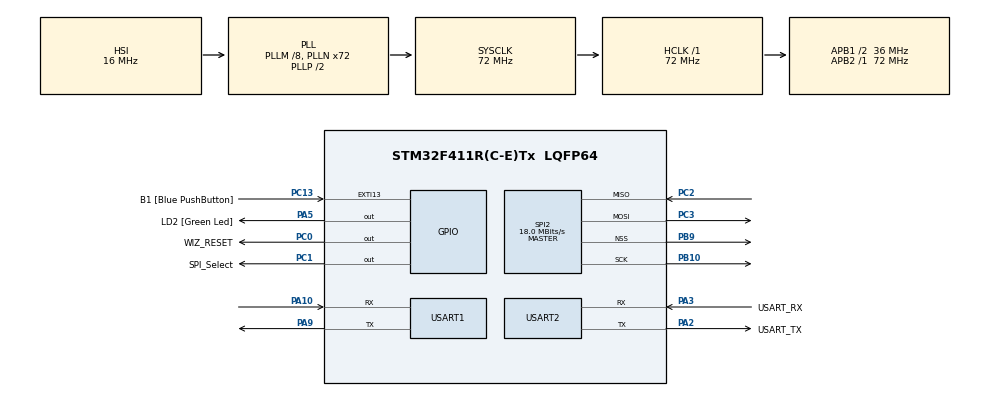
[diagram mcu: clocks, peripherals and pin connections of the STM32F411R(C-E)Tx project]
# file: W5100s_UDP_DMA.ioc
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Dma.Request0=SPI2_RX
Dma.Request1=SPI2_TX
Dma.SPI2_RX.0.Direction=DMA_PERIPH_TO_MEMORY
Dma.SPI2_RX.0.FIFOMode=DMA_FIFOMODE_DISABLE
Dma.SPI2_RX.0.Instance=DMA1_Stream3
Dma.SPI2_RX.0.MemDataAlignment=DMA_MDATAALIGN_BYTE
Dma.SPI2_RX.0.MemInc=DMA_MINC_ENABLE
Dma.SPI2_RX.0.Mode=DMA_NORMAL
Dma.SPI2_RX.0.PeriphDataAlignment=DMA_PDATAALIGN_BYTE
Dma.SPI2_RX.0.PeriphInc=DMA_PINC_DISABLE
Dma.SPI2_RX.0.Priority=DMA_PRIORITY_LOW
Dma.SPI2_TX.1.Direction=DMA_MEMORY_TO_PERIPH
Dma.SPI2_TX.1.FIFOMode=DMA_FIFOMODE_DISABLE
Dma.SPI2_TX.1.Instance=DMA1_Stream4
Dma.SPI2_TX.1.MemDataAlignment=DMA_MDATAALIGN_BYTE
Dma.SPI2_TX.1.MemInc=DMA_MINC_ENABLE
Dma.SPI2_TX.1.Mode=DMA_NORMAL
Dma.SPI2_TX.1.PeriphDataAlignment=DMA_PDATAALIGN_BYTE
Dma.SPI2_TX.1.PeriphInc=DMA_PINC_DISABLE
Dma.SPI2_TX.1.Priority=DMA_PRIORITY_LOW
Mcu.Family=STM32F4
Mcu.Name=STM32F411R(C-E)Tx
Mcu.Package=LQFP64
NVIC.DMA1_Stream3_IRQn=true\:0\:0\:false\:false\:true\:false\:true\:true
NVIC.DMA1_Stream4_IRQn=true\:0\:0\:false\:false\:true\:false\:true\:true
NVIC.PriorityGroup=NVIC_PRIORITYGROUP_0
NVIC.RCC_IRQn=true\:0\:0\:false\:false\:true\:true\:false\:true
PA10.Mode=Asynchronous
PA10.Signal=USART1_RX
PA13.GPIO_Label=TMS
PA13.Mode=Trace_Asynchronous_SW
PA13.Signal=SYS_JTMS-SWDIO
PA14.GPIO_Label=TCK
PA14.Mode=Trace_Asynchronous_SW
PA14.Signal=SYS_JTCK-SWCLK
PA2.GPIO_Label=USART_TX
PA2.Mode=Asynchronous
PA2.Signal=USART2_TX
PA3.GPIO_Label=USART_RX
PA3.Mode=Asynchronous
PA3.Signal=USART2_RX
PA5.GPIO_Label=LD2 [Green Led]
PA5.Signal=GPIO_Output
PA9.Mode=Asynchronous
PA9.Signal=USART1_TX
PB10.Mode=Full_Duplex_Master
PB10.Signal=SPI2_SCK
PB3.GPIO_Label=SWO
PB3.Mode=Trace_Asynchronous_SW
PB3.Signal=SYS_JTDO-SWO
PB9.Mode=NSS_Signal_Hard_Output
PB9.Signal=SPI2_NSS
PC0.GPIO_Label=WIZ_RESET
PC0.Signal=GPIO_Output
PC1.GPIO_Label=SPI_Select
PC1.Signal=GPIO_Output
PC13-ANTI_TAMP.GPIO_Label=B1 [Blue PushButton]
PC13-ANTI_TAMP.GPIO_ModeDefaultEXTI=GPIO_MODE_IT_FALLING
PC13-ANTI_TAMP.Signal=GPXTI13
PC14-OSC32_IN.Mode=LSE-External-Oscillator
PC14-OSC32_IN.Signal=RCC_OSC32_IN
PC15-OSC32_OUT.Mode=LSE-External-Oscillator
PC15-OSC32_OUT.Signal=RCC_OSC32_OUT
PC2.Mode=Full_Duplex_Master
PC2.Signal=SPI2_MISO
PC3.Mode=Full_Duplex_Master
PC3.Signal=SPI2_MOSI
PH0\ -\ OSC_IN.Signal=RCC_OSC_IN
PH1\ -\ OSC_OUT.Signal=RCC_OSC_OUT
ProjectManager.HeapSize=0x200
ProjectManager.StackSize=0x400
ProjectManager.TargetToolchain=STM32CubeIDE
RCC.48MHZClocksFreq_Value=36000000
RCC.AHBFreq_Value=72000000
RCC.APB1CLKDivider=RCC_HCLK_DIV2
RCC.APB1Freq_Value=36000000
RCC.APB1TimFreq_Value=72000000
RCC.APB2Freq_Value=72000000
RCC.APB2TimFreq_Value=72000000
RCC.CortexFreq_Value=72000000
RCC.FLatency-AdvancedSettings=FLASH_LATENCY_2
RCC.HCLKFreq_Value=72000000
RCC.HSE_VALUE=8000000
RCC.HSI_VALUE=16000000
RCC.PLLM=8
RCC.PLLN=72
RCC.SYSCLKFreq_VALUE=72000000
RCC.SYSCLKSource=RCC_SYSCLKSOURCE_PLLCLK
RCC.VCOOutputFreq_Value=144000000
SPI2.CalculateBaudRate=18.0 MBits/s
SPI2.Direction=SPI_DIRECTION_2LINES
SPI2.Mode=SPI_MODE_MASTER
SPI2.VirtualNSS=VM_NSSHARD
SPI2.VirtualType=VM_MASTER
USART1.VirtualMode=VM_ASYNC
USART2.VirtualMode=VM_ASYNC
board=NUCLEO-F411RE

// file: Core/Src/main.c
/* USER CODE BEGIN Header */
/**
  ******************************************************************************
  * @file           : main.c
  * @brief          : Main program body
  ******************************************************************************
  * @attention
  *
  * Copyright (c) 2023 STMicroelectronics.
  * All rights reserved.
  *
  * This software is licensed under terms that can be found in the LICENSE file
  * in the root directory of this software component.
  * If no LICENSE file comes with this software, it is provided AS-IS.
  *
  ******************************************************************************
  */
/* USER CODE END Header */
#include "main.h"

/* USER CODE BEGIN Includes */
#include <stdio.h>
#include "W5100S/w5100s.h"
#include "loopback/loopback.h"
#include "wizchip_conf.h"
#include "socket.h"
/* USER CODE END Includes */

/* USER CODE BEGIN PTD */
#define True_STD
/* USER CODE END PTD */

SPI_HandleTypeDef hspi2;
DMA_HandleTypeDef hdma_spi2_rx;
DMA_HandleTypeDef hdma_spi2_tx;

UART_HandleTypeDef huart1;
UART_HandleTypeDef huart2;

/* USER CODE BEGIN PV */
wiz_NetInfo gWIZNETINFO = { .mac = {0x00,0x08,0xdc,0x57,0x57,0x20},
							.ip = {192,168,100,30},
							.sn = {255, 255, 255, 0},
							.gw = {192, 168, 100, 1},
							.dns = {168, 126, 63, 1}
						};

uint8_t WIZ_Dest_IP[4] = {192, 168, 0, 232};                  //DST_IP Address

uint8_t data_buf[2048];
void print_network_information(void);
/* USER CODE END PV */

void SystemClock_Config(void);
static void MX_GPIO_Init(void);
static void MX_DMA_Init(void);
static void MX_SPI2_Init(void);
static void MX_USART2_UART_Init(void);
static void MX_USART1_UART_Init(void);
/* USER CODE BEGIN PFP */
uint8_t rxData;

uint8_t send_flag = 0;

uint8_t rx_buffer[2048]= {0,};
int rx_index = 0;
uint8_t rx_flag =0;
/* USER CODE END PFP */

/* USER CODE BEGIN 0 */
#ifdef __GNUC__
#define PUTCHAR_PROTOTYPE int __io_putchar(int ch)
#else
#define PUTCHAR_PROTOTYPE int fputc(int ch, FILE *f)
#endif

/**
 * @brief Retargets the C library printf function to the USART
 * @param None
 * @retval None
 */
/*PUTCHAR_PROTOTYPE{
	if (ch == '\n') HAL_UART_Transmit(&huart1, (uint8_t*)"\r", 1, 0xFFFF);
	HAL_UART_Transmit(&huart1, (uint8_t*)&ch, 1, 0xFFFF);
	return ch;
}
*/
#ifdef True_STD
	int _write(int fd, char *str, int len)
	{
		for(int i=0; i<len; i++)
		{
			HAL_UART_Transmit(&huart1, (uint8_t *)&str[i], 1, 0xFFFF);
		}
		return len;
	}
#endif

void spiWriteByte(uint8_t byte)
{
	HAL_SPI_Transmit(&hspi2, &byte, 1, HAL_MAX_DELAY);
}

uint8_t spiReadByte(void)
{
	uint8_t ret;
	HAL_SPI_Receive(&hspi2, &ret, 1, HAL_MAX_DELAY);
	return ret;
}

void spiWriteBurst(uint8_t *buffer, uint16_t len)
{
	HAL_SPI_Transmit(&hspi2, buffer, len, HAL_MAX_DELAY);
}

void spiReadBurst(uint8_t *buffer, uint16_t len)
{
	HAL_SPI_Receive(&hspi2, buffer, len, HAL_MAX_DELAY);
}

void W5100SInitialze(void)
{
	intr_kind temp;
	int ret=0;
//	unsigned char W5100S_AdrSet[2][4] = {{4,4,0,0},{4,4,0,0}};
	/*
	 */
	do{//check phy status.
		ret = ctlwizchip(CW_GET_PHYLINK,(void*)&temp);
		//printf("temp = %x\r\n",&temp);
		if(ret==-1){
			//if(ctlwizchip(CW_GET_PHYLINK,(void*)&temp) == -1){
				printf("Unknown PHY link status.\r\n");
			}
		}while(temp == PHY_LINK_OFF);

	temp = IK_DEST_UNREACH;
/*
	if(ctlwizchip(CW_INIT_WIZCHIP,(void*)W5100S_AdrSet) == -1)
	{
		printf("W5100S initialized fail.\r\n");
	}
*/
	if(ctlwizchip(CW_SET_INTRMASK,&temp) == -1)
	{
		printf("W5100S interrupt\r\n");
	}
	printf("interrupt mask: %02x\r\n",getIMR());

}
#if 0
void HAL_Delay(uint32_t Delay)
{
  uint32_t tickstart = HAL_GetTick();
  while ((HAL_GetTick() - tickstart) < Delay)
  {
  }
}
#endif
/* USER CODE END 0 */

int main(void)
{
  /* USER CODE BEGIN 1 */
	uint32_t ti_9 = 0;
  /* USER CODE END 1 */

  /* MCU Configuration--------------------------------------------------------*/

  /* Reset of all peripherals, Initializes the Flash interface and the Systick. */
  HAL_Init();

  /* Configure the system clock */
  SystemClock_Config();

  /* Initialize all configured peripherals */
  MX_GPIO_Init();
  MX_DMA_Init();
  MX_SPI2_Init();
  MX_USART2_UART_Init();
  MX_USART1_UART_Init();
  /* USER CODE BEGIN 2 */
  ti_9 = HAL_GetTick();
  printf("test1  %ld\r\n",ti_9);
  HAL_GPIO_WritePin(GPIOC, WIZ_RESET_Pin, GPIO_PIN_RESET);
  ti_9 = HAL_GetTick();
    printf("test2  %ld\r\n",ti_9);
  HAL_Delay(500);
  HAL_GPIO_WritePin(GPIOC, WIZ_RESET_Pin, GPIO_PIN_SET);
  HAL_Delay(500);
//SPI CS Test
  HAL_GPIO_WritePin(GPIOC, SPI_Select_Pin, GPIO_PIN_SET);
  HAL_Delay(500);
  HAL_GPIO_WritePin(GPIOC, SPI_Select_Pin, GPIO_PIN_RESET);
  HAL_Delay(500); HAL_Delay(500);
reg_wizchip_spi_cbfunc(spiReadByte, spiWriteByte);

  NETUNLOCK();
  wizchip_setnetinfo(&gWIZNETINFO);
  W5100SInitialze();
  printf("VERSION(%x) = %.4x \r\n", VERR,getVER());
  HAL_Delay(500);

    print_network_information();
  /* USER CODE END 2 */

  /* Infinite loop */
  while (1)
  {

  }
}

void SystemClock_Config(void)
{
  RCC_OscInitTypeDef RCC_OscInitStruct = {0};
  RCC_ClkInitTypeDef RCC_ClkInitStruct = {0};

  /** Configure the main internal regulator output voltage
  */
  __HAL_RCC_PWR_CLK_ENABLE();
  __HAL_PWR_VOLTAGESCALING_CONFIG(PWR_REGULATOR_VOLTAGE_SCALE1);

  /** Initializes the RCC Oscillators according to the specified parameters
  * in the RCC_OscInitTypeDef structure.
  */
  RCC_OscInitStruct.OscillatorType = RCC_OSCILLATORTYPE_HSI;
  RCC_OscInitStruct.HSIState = RCC_HSI_ON;
  RCC_OscInitStruct.HSICalibrationValue = RCC_HSICALIBRATION_DEFAULT;
  RCC_OscInitStruct.PLL.PLLState = RCC_PLL_ON;
  RCC_OscInitStruct.PLL.PLLSource = RCC_PLLSOURCE_HSI;
  RCC_OscInitStruct.PLL.PLLM = 8;
  RCC_OscInitStruct.PLL.PLLN = 72;
  RCC_OscInitStruct.PLL.PLLP = RCC_PLLP_DIV2;
  RCC_OscInitStruct.PLL.PLLQ = 4;
  if (HAL_RCC_OscConfig(&RCC_OscInitStruct) != HAL_OK)
  {
    Error_Handler();
  }

  /** Initializes the CPU, AHB and APB buses clocks
  */
  RCC_ClkInitStruct.ClockType = RCC_CLOCKTYPE_HCLK|RCC_CLOCKTYPE_SYSCLK
                              |RCC_CLOCKTYPE_PCLK1|RCC_CLOCKTYPE_PCLK2;
  RCC_ClkInitStruct.SYSCLKSource = RCC_SYSCLKSOURCE_PLLCLK;
  RCC_ClkInitStruct.AHBCLKDivider = RCC_SYSCLK_DIV1;
  RCC_ClkInitStruct.APB1CLKDivider = RCC_HCLK_DIV2;
  RCC_ClkInitStruct.APB2CLKDivider = RCC_HCLK_DIV1;

  if (HAL_RCC_ClockConfig(&RCC_ClkInitStruct, FLASH_LATENCY_2) != HAL_OK)
  {
    Error_Handler();
  }
}

static void MX_SPI2_Init(void)
{

  /* SPI2 parameter configuration*/
  hspi2.Instance = SPI2;
  hspi2.Init.Mode = SPI_MODE_MASTER;
  hspi2.Init.Direction = SPI_DIRECTION_2LINES;
  hspi2.Init.DataSize = SPI_DATASIZE_8BIT;
  hspi2.Init.CLKPolarity = SPI_POLARITY_LOW;
  hspi2.Init.CLKPhase = SPI_PHASE_1EDGE;
  hspi2.Init.NSS = SPI_NSS_HARD_OUTPUT;
  hspi2.Init.BaudRatePrescaler = SPI_BAUDRATEPRESCALER_2;
  hspi2.Init.FirstBit = SPI_FIRSTBIT_MSB;
  hspi2.Init.TIMode = SPI_TIMODE_DISABLE;
  hspi2.Init.CRCCalculation = SPI_CRCCALCULATION_DISABLE;
  hspi2.Init.CRCPolynomial = 10;
  if (HAL_SPI_Init(&hspi2) != HAL_OK)
  {
    Error_Handler();
  }

}

static void MX_USART1_UART_Init(void)
{

  huart1.Instance = USART1;
  huart1.Init.BaudRate = 115200;
  huart1.Init.WordLength = UART_WORDLENGTH_8B;
  huart1.Init.StopBits = UART_STOPBITS_1;
  huart1.Init.Parity = UART_PARITY_NONE;
  huart1.Init.Mode = UART_MODE_TX_RX;
  huart1.Init.HwFlowCtl = UART_HWCONTROL_NONE;
  huart1.Init.OverSampling = UART_OVERSAMPLING_16;
  if (HAL_UART_Init(&huart1) != HAL_OK)
  {
    Error_Handler();
  }

}

static void MX_USART2_UART_Init(void)
{

  huart2.Instance = USART2;
  huart2.Init.BaudRate = 115200;
  huart2.Init.WordLength = UART_WORDLENGTH_8B;
  huart2.Init.StopBits = UART_STOPBITS_1;
  huart2.Init.Parity = UART_PARITY_NONE;
  huart2.Init.Mode = UART_MODE_TX_RX;
  huart2.Init.HwFlowCtl = UART_HWCONTROL_NONE;
  huart2.Init.OverSampling = UART_OVERSAMPLING_16;
  if (HAL_UART_Init(&huart2) != HAL_OK)
  {
    Error_Handler();
  }

}

static void MX_DMA_Init(void)
{

  /* DMA controller clock enable */
  __HAL_RCC_DMA1_CLK_ENABLE();

  /* DMA interrupt init */
  /* DMA1_Stream3_IRQn interrupt configuration */
  HAL_NVIC_SetPriority(DMA1_Stream3_IRQn, 0, 0);
  HAL_NVIC_EnableIRQ(DMA1_Stream3_IRQn);
  /* DMA1_Stream4_IRQn interrupt configuration */
  HAL_NVIC_SetPriority(DMA1_Stream4_IRQn, 0, 0);
  HAL_NVIC_EnableIRQ(DMA1_Stream4_IRQn);

}

static void MX_GPIO_Init(void)
{
  GPIO_InitTypeDef GPIO_InitStruct = {0};

  /* GPIO Ports Clock Enable */
  __HAL_RCC_GPIOC_CLK_ENABLE();
  __HAL_RCC_GPIOH_CLK_ENABLE();
  __HAL_RCC_GPIOA_CLK_ENABLE();
  __HAL_RCC_GPIOB_CLK_ENABLE();

  /*Configure GPIO pin Output Level */
  HAL_GPIO_WritePin(GPIOC, WIZ_RESET_Pin|SPI_Select_Pin, GPIO_PIN_RESET);

  /*Configure GPIO pin Output Level */
  HAL_GPIO_WritePin(LD2_GPIO_Port, LD2_Pin, GPIO_PIN_RESET);

  /*Configure GPIO pin : B1_Pin */
  GPIO_InitStruct.Pin = B1_Pin;
  GPIO_InitStruct.Mode = GPIO_MODE_IT_FALLING;
  GPIO_InitStruct.Pull = GPIO_NOPULL;
  HAL_GPIO_Init(B1_GPIO_Port, &GPIO_InitStruct);

  /*Configure GPIO pins : WIZ_RESET_Pin SPI_Select_Pin */
  GPIO_InitStruct.Pin = WIZ_RESET_Pin|SPI_Select_Pin;
  GPIO_InitStruct.Mode = GPIO_MODE_OUTPUT_PP;
  GPIO_InitStruct.Pull = GPIO_NOPULL;
  GPIO_InitStruct.Speed = GPIO_SPEED_FREQ_LOW;
  HAL_GPIO_Init(GPIOC, &GPIO_InitStruct);

  /*Configure GPIO pin : LD2_Pin */
  GPIO_InitStruct.Pin = LD2_Pin;
  GPIO_InitStruct.Mode = GPIO_MODE_OUTPUT_PP;
  GPIO_InitStruct.Pull = GPIO_NOPULL;
  GPIO_InitStruct.Speed = GPIO_SPEED_FREQ_LOW;
  HAL_GPIO_Init(LD2_GPIO_Port, &GPIO_InitStruct);

}

/* USER CODE BEGIN 4 */
void print_network_information(void)
{
	wizchip_getnetinfo(&gWIZNETINFO);
	printf("Mac address: %02x:%02x:%02x:%02x:%02x:%02x\n\r",gWIZNETINFO.mac[0],gWIZNETINFO.mac[1],gWIZNETINFO.mac[2],gWIZNETINFO.mac[3],gWIZNETINFO.mac[4],gWIZNETINFO.mac[5]);
	printf("IP address : %d.%d.%d.%d\n\r",gWIZNETINFO.ip[0],gWIZNETINFO.ip[1],gWIZNETINFO.ip[2],gWIZNETINFO.ip[3]);
	printf("SN Mask	   : %d.%d.%d.%d\n\r",gWIZNETINFO.sn[0],gWIZNETINFO.sn[1],gWIZNETINFO.sn[2],gWIZNETINFO.sn[3]);
	printf("Gate way   : %d.%d.%d.%d\n\r",gWIZNETINFO.gw[0],gWIZNETINFO.gw[1],gWIZNETINFO.gw[2],gWIZNETINFO.gw[3]);
	printf("DNS Server : %d.%d.%d.%d\n\r",gWIZNETINFO.dns[0],gWIZNETINFO.dns[1],gWIZNETINFO.dns[2],gWIZNETINFO.dns[3]);

}

/* USER CODE END 4 */

void Error_Handler(void)
{
  __disable_irq();
  while (1)
  {
  }
}
